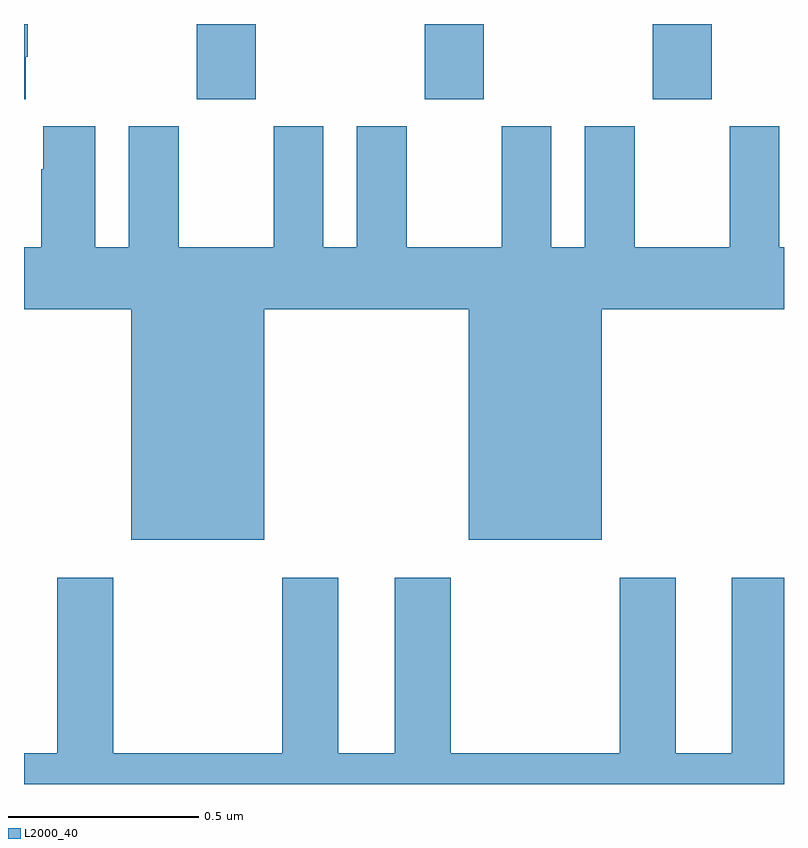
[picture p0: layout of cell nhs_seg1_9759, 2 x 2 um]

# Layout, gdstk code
import gdstk
lib = gdstk.Library(unit=1e-6, precision=1e-09)
def R(c, l, rs):  # rectangles x0, y0, x1, y1
    for r in rs: c.add(gdstk.rectangle(r[:2], r[2:], *l))
def A(c, l, x, y, w, h, nx, ny, dx, dy):  # array of equal rectangles
    R(c, l, [(x+i*dx, y+j*dy, x+i*dx+w, y+j*dy+h) for i in range(nx) for j in range(ny)])
def P(c, l, *ps):  # polygons
    for p in ps: c.add(gdstk.Polygon(p, *l))
L2000_40 = (2000, 40)

nhs_seg1_9759 = lib.new_cell('nhs_seg1_9759')
A(nhs_seg1_9759, L2000_40, 233.455, 503.001, 0.155, 0.198, 3, 1, 0.6, 0)
P(nhs_seg1_9759, L2000_40, [(233.005,503.113),(233.01,503.113),(233.01,503.199),(233,503.199),(233,503.001),(233.005,503.001)],
  [(233.632,502.448),(234.17,502.448),(234.17,501.842),(234.52,501.842),(234.52,502.448),(235,502.448),(235,502.612),(234.988,502.612),(234.988,502.93),(234.857,502.93),(234.857,502.612),(234.607,502.612),(234.607,502.93),(234.476,502.93),(234.476,502.612),(234.388,502.612),(234.388,502.93),(234.257,502.93),(234.257,502.612),(234.007,502.612),(234.007,502.93),(233.876,502.93),(233.876,502.612),(233.788,502.612),(233.788,502.93),(233.657,502.93),(233.657,502.612),(233.407,502.612),(233.407,502.93),(233.276,502.93),(233.276,502.612),(233.188,502.612),(233.188,502.93),(233.051,502.93),(233.051,502.817),(233.045,502.817),(233.045,502.612),(233,502.612),(233,502.448),(233.282,502.448),(233.282,501.842),(233.632,501.842)],
  [(235,501.742),(234.863,501.742),(234.863,501.28),(234.715,501.28),(234.715,501.742),(234.568,501.742),(234.568,501.28),(234.123,501.28),(234.123,501.742),(233.975,501.742),(233.975,501.28),(233.827,501.28),(233.827,501.742),(233.68,501.742),(233.68,501.28),(233.235,501.28),(233.235,501.742),(233.087,501.742),(233.087,501.28),(233,501.28),(233,501.199),(235,501.199)])

lib.write_gds('nhs_seg1_9759.gds')
